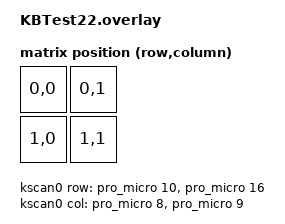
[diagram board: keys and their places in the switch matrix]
#include <dt-bindings/zmk/matrix_transform.h>

/ {
    chosen {
        zmk,kscan = &kscan0;
        zmk,matrix_transform = &transform0;
    };

    kscan0: kscan_0 {
        compatible = "zmk,kscan-gpio-matrix";
        label = "KSCAN";
        diode-direction = "col2row";

        col-gpios =
            <&pro_micro 8 GPIO_ACTIVE_HIGH>,
            <&pro_micro 9 GPIO_ACTIVE_HIGH>;

        row-gpios =
            <&pro_micro 10 (GPIO_ACTIVE_HIGH | GPIO_PULL_DOWN)>,
            <&pro_micro 16 (GPIO_ACTIVE_HIGH | GPIO_PULL_DOWN)>;
    };

    transform0: matrix_transform {
        compatible = "zmk,matrix_transform";
        rows       = <2>;
        columns    = <2>;

        map = <
            RC(0,0) RC(0,1)
            RC(1,0) RC(1,1)
        >;
    };
};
